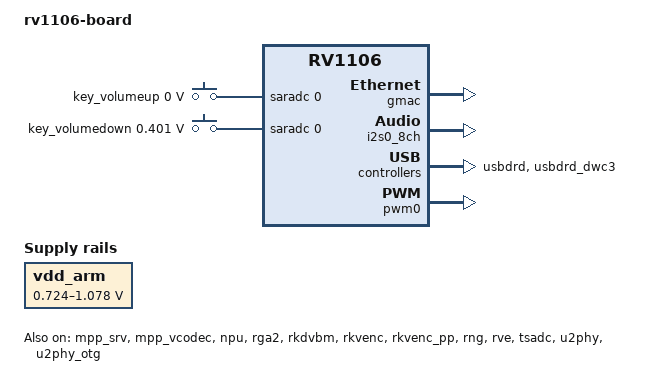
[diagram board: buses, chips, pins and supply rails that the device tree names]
// SPDX-License-Identifier: (GPL-2.0+ OR MIT)
/*
 * Copyright (c) 2023 RPDZKJ Co., Ltd.
 */
 
#include <dt-bindings/input/input.h>
#include "rv1106.dtsi"
#include "rv1106-amp.dtsi"

/{
    model = "rv1106-board";
    compatible = "rockchip,rv1106g-evb1-v11", "rockchip,rv1106";
    
    adc-keys {
        compatible = "adc-keys";
        io-channels = <&saradc 0>;
        io-channel-names = "buttons";
        poll-interval = <100>;
        keyup-threshold-microvolt = <1800000>;

        key_volumeup-key {
            label = "key_volumeup";
            linux,code = <KEY_VOLUMEUP>;
            press-threshold-microvolt = <0>;
        };

        key_volumedown-key {
            label = "key_volumedown";
            linux,code = <KEY_VOLUMEDOWN>;
            press-threshold-microvolt = <400781>;
        };
    };

    restart-poweroff {
        compatible = "restart-poweroff";
    };

    dsm_sound: dsm-sound {
        status = "disabled";
        compatible = "simple-audio-card";
        simple-audio-card,format = "i2s";
        simple-audio-card,mclk-fs = <256>;
        simple-audio-card,name = "rockchip,dsm-sound";
        simple-audio-card,bitclock-master = <&sndcodec>;
        simple-audio-card,frame-master = <&sndcodec>;
        sndcpu: simple-audio-card,cpu {
            sound-dai = <&i2s0_8ch>;
        };
        sndcodec: simple-audio-card,codec {
            sound-dai = <&dsm>;
        };
    };

    vdd_arm: vdd-arm {
        compatible = "pwm-regulator";
        pwms = <&pwm0 0 5000 1>;
        regulator-name = "vdd_arm";
        regulator-min-microvolt = <724000>;
        regulator-max-microvolt = <1078000>;
        regulator-init-microvolt = <9500000>;
        regulator-always-on;
        regulator-boot-on;
        regulator-settling-time-up-us = <250>;
    };
};

&gmac {
    status = "okay";
};

&i2s0_8ch {
    status = "okay";
};

&mpp_srv {
    status = "okay";
};

&mpp_vcodec {
    status = "okay";
};

&npu {
    status = "okay";
};

&rga2 {
    status = "okay";
};

&rkdvbm {
    status = "okay";
};

&rkvenc {
    status = "okay";
};

&rkvenc_pp {
    status = "okay";
};

&rng {
    status = "okay";
};

&rve {
    status = "okay";
};

&tsadc {
    status = "okay";
};

&u2phy {
    status = "okay";
};

&u2phy_otg {
    status = "okay";
};

&usbdrd {
    status = "okay";
};

&usbdrd_dwc3 {
    extcon = <&u2phy>;
    status = "okay";
};

&cpu0 {
    cpu-supply = <&vdd_arm>;
};

&dsm {
    status = "disabled";
};

&pwm0 {
    status = "okay";
};

// rpdzkj: If the internal rtc is not used, must be disabled it!!! otherwise it will affect the system startup.
&rtc {
    status = "disabled";
};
